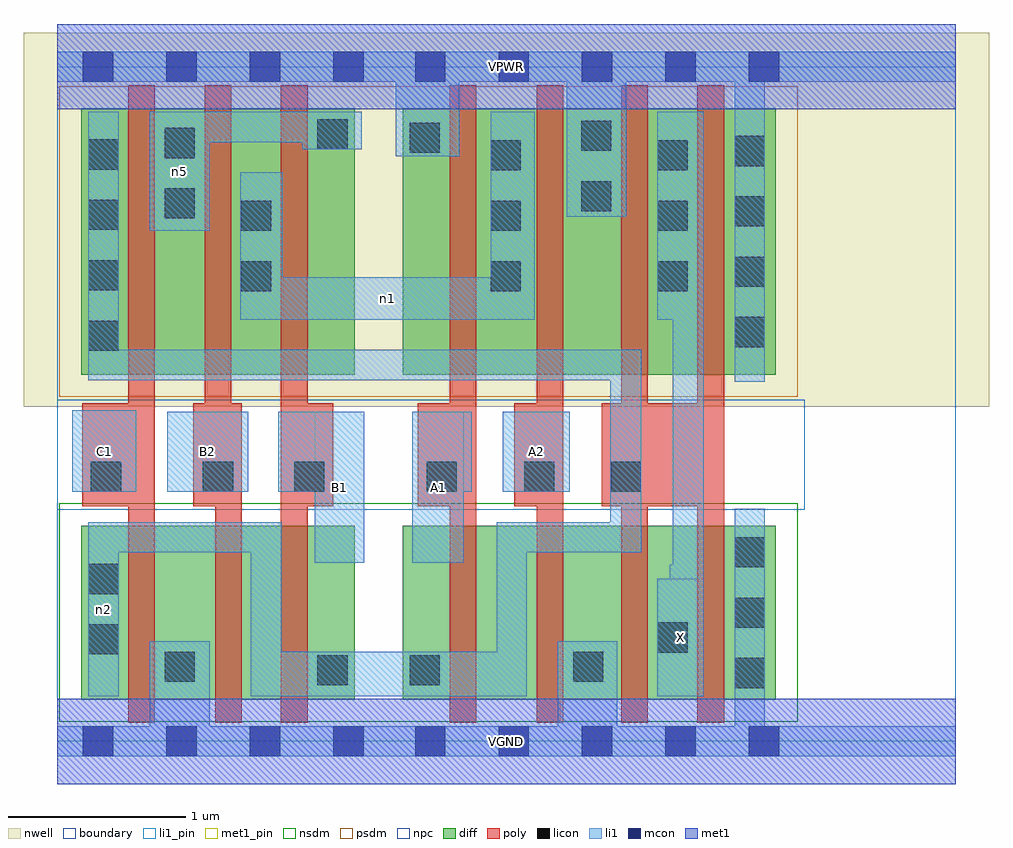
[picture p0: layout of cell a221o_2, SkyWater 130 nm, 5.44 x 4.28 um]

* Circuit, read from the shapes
.subckt a221o_2 A1 A2 B1 B2 C1 VGND VPWR X n1 n2 n5
XM1 VGND C1 n2 VSUBS sky130_fd_pr__nfet_01v8 w=0.98 l=0.15
XM2 n3 B2 VGND VSUBS sky130_fd_pr__nfet_01v8 w=0.98 l=0.15
XM3 n2 B1 n3 VSUBS sky130_fd_pr__nfet_01v8 w=0.98 l=0.15
XM4 n4 A1 n2 VSUBS sky130_fd_pr__nfet_01v8 w=0.98 l=0.15
XM5 VGND A2 n4 VSUBS sky130_fd_pr__nfet_01v8 w=0.98 l=0.15
XM6 X n2 VGND VSUBS sky130_fd_pr__nfet_01v8 w=0.98 l=0.15 m=2
XM7 n5 C1 n2 n6 sky130_fd_pr__pfet_01v8 w=1.5 l=0.15
XM8 n1 B2 n5 n6 sky130_fd_pr__pfet_01v8 w=1.5 l=0.15
XM9 n5 B1 n1 n6 sky130_fd_pr__pfet_01v8 w=1.5 l=0.15
XM10 n1 A1 VPWR n6 sky130_fd_pr__pfet_01v8 w=1.5 l=0.15
XM11 VPWR A2 n1 n6 sky130_fd_pr__pfet_01v8 w=1.5 l=0.15
XM12 X n2 VPWR n6 sky130_fd_pr__pfet_01v8 w=1.5 l=0.15 m=2
.ends

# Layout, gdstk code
import gdstk
lib = gdstk.Library(unit=1e-6, precision=1e-09)
def R(c, l, rs):  # rectangles x0, y0, x1, y1
    for r in rs: c.add(gdstk.rectangle(r[:2], r[2:], *l))
def A(c, l, x, y, w, h, nx, ny, dx, dy):  # array of equal rectangles
    R(c, l, [(x+i*dx, y+j*dy, x+i*dx+w, y+j*dy+h) for i in range(nx) for j in range(ny)])
nwell = (64, 20)
diff = (65, 20)
poly = (66, 20)
licon = (66, 44)
li1_pin = (67, 16)
li1 = (67, 20)
mcon = (67, 44)
met1_pin = (68, 16)
met1 = (68, 20)
nsdm = (93, 44)
psdm = (94, 20)
npc = (95, 20)
boundary = (235, 4)

a221o_2 = lib.new_cell('a221o_2')
R(a221o_2, nwell, [(-0.19,1.885,5.25,3.99), (0,1.885,5.06,3.99)])
R(a221o_2, diff, [(0.135,0.235,1.675,1.215), (1.945,0.235,4.045,1.215), (0.135,2.065,1.675,3.565), (1.945,2.065,4.045,3.565)])
R(a221o_2, poly, [(0.4,0.105,0.55,3.695), (0.89,0.105,1.04,1.905), (1.26,0.105,1.41,3.695), (2.21,0.105,2.36,3.695), (2.7,0.105,2.85,3.695), (3.175,0.105,3.325,3.695), (3.605,0.105,3.755,3.695), (0.14,1.325,0.55,1.905), (0.765,1.325,1.04,1.905), (0.83,1.325,0.98,3.695), (1.26,1.325,1.555,1.905), (2.03,1.325,2.36,1.905), (2.575,1.325,2.85,1.905), (3.065,1.325,3.755,1.905)])
A(a221o_2, licon, 3.815, 0.3, 0.17, 0.17, 1, 3, 0, 0.34)
A(a221o_2, licon, 0.175, 2.2, 0.17, 0.17, 1, 4, 0, 0.34)
A(a221o_2, licon, 3.815, 2.22, 0.17, 0.17, 1, 4, 0, 0.34)
A(a221o_2, licon, 2.44, 2.535, 0.17, 0.17, 1, 3, 0, 0.34)
A(a221o_2, licon, 3.38, 2.535, 0.17, 0.17, 1, 3, 0, 0.34)
R(a221o_2, licon, [(1.465,0.315,1.635,0.485), (1.985,0.315,2.155,0.485), (0.605,0.335,0.775,0.505), (2.905,0.335,3.075,0.505), (0.175,0.49,0.345,0.66), (3.38,0.5,3.55,0.67), (0.175,0.83,0.345,1), (0.19,1.405,0.36,1.575), (0.82,1.405,0.99,1.575), (1.335,1.405,1.505,1.575), (2.08,1.405,2.25,1.575), (2.63,1.405,2.8,1.575), (3.12,1.405,3.29,1.575), (1.035,2.535,1.205,2.705), (1.035,2.875,1.205,3.045), (0.605,2.945,0.775,3.115), (2.95,2.985,3.12,3.155), (0.605,3.285,0.775,3.455), (1.985,3.315,2.155,3.485), (2.95,3.325,3.12,3.495), (1.465,3.335,1.635,3.505)])
R(a221o_2, li1_pin, [(3.38,0.255,3.64,0.915), (1.45,1.005,1.73,1.855), (2,1.005,2.29,1.855), (0.085,1.405,0.445,1.865), (0.62,1.405,1.075,1.855), (2.51,1.405,2.885,1.855)])
R(a221o_2, li1, [(0,-0.085,5.06,0.085), (0.52,-0.085,0.86,0.565), (2.82,-0.085,3.155,0.565), (3.815,-0.085,3.985,1.31), (0.175,0.255,0.345,1.235), (1.09,0.255,2.645,0.505), (1.09,0.255,1.265,1.235), (2.475,0.255,2.645,1.235), (3.38,0.255,3.64,0.915), (3.45,0.255,3.64,0.995), (3.465,0.255,3.64,3.545), (1.45,1.005,1.73,1.855), (2,1.005,2.29,1.855), (0.175,1.065,1.265,1.235), (2.475,1.065,3.29,1.235), (3.115,1.065,3.29,2.205), (0.085,1.405,0.445,1.865), (0.62,1.405,1.075,1.855), (1.245,1.405,1.73,1.855), (2,1.405,2.335,1.855), (2.51,1.405,2.885,1.855), (3.815,2.025,3.985,3.885), (0.175,2.035,3.29,2.205), (0.175,2.035,0.345,3.545), (1.03,2.375,2.69,2.615), (1.03,2.375,1.27,3.205), (2.44,2.375,2.69,3.545), (3.38,2.375,3.64,3.545), (0.52,2.875,0.86,3.545), (2.87,2.955,3.205,3.885), (1.905,3.295,2.265,3.885), (1.38,3.335,1.715,3.545), (0.52,3.375,1.715,3.545), (0,3.715,5.06,3.885)])
A(a221o_2, mcon, 0.145, -0.085, 0.17, 0.17, 4, 2, 0.47, 3.8)
A(a221o_2, mcon, 2.015, -0.085, 0.17, 0.17, 5, 2, 0.47, 3.8)
R(a221o_2, met1_pin, [(0,-0.24,5.06,0.24), (0,3.56,5.06,4.04)])
R(a221o_2, met1, [(0,-0.24,5.06,0.24), (0,3.56,5.06,4.04)])
R(a221o_2, nsdm, [(0.01,0.11,4.17,1.34)])
R(a221o_2, psdm, [(0.01,1.94,4.17,3.69)])
R(a221o_2, npc, [(0,1.305,4.21,1.925)])
R(a221o_2, boundary, [(0,0,5.06,3.8)])
a221o_2.add(gdstk.Label('A1', (2.145,1.43), layer=67, texttype=5))
a221o_2.add(gdstk.Label('A2', (2.697,1.63), layer=67, texttype=5))
a221o_2.add(gdstk.Label('B1', (1.59,1.43), layer=67, texttype=5))
a221o_2.add(gdstk.Label('B2', (0.847,1.63), layer=67, texttype=5))
a221o_2.add(gdstk.Label('C1', (0.265,1.635), layer=67, texttype=5))
a221o_2.add(gdstk.Label('X', (3.51,0.585), layer=67, texttype=5))
a221o_2.add(gdstk.Label('n2', (0.26,0.745), layer=67, texttype=5))
a221o_2.add(gdstk.Label('n5', (0.69,3.21), layer=67, texttype=5))
a221o_2.add(gdstk.Label('n1', (1.86,2.495), layer=67, texttype=5))
a221o_2.add(gdstk.Label('VPWR', (2.53,3.8), layer=68, texttype=5))
a221o_2.add(gdstk.Label('VGND', (2.53,0), layer=68, texttype=5))
a221o_2.add(gdstk.Label('A1', (2.145,1.43), layer=67, texttype=16))
a221o_2.add(gdstk.Label('A2', (2.697,1.63), layer=67, texttype=16))
a221o_2.add(gdstk.Label('B1', (1.59,1.43), layer=67, texttype=16))
a221o_2.add(gdstk.Label('B2', (0.847,1.63), layer=67, texttype=16))
a221o_2.add(gdstk.Label('C1', (0.265,1.635), layer=67, texttype=16))
a221o_2.add(gdstk.Label('X', (3.51,0.585), layer=67, texttype=16))
a221o_2.add(gdstk.Label('VPWR', (2.53,3.8), layer=68, texttype=16))
a221o_2.add(gdstk.Label('VGND', (2.53,0), layer=68, texttype=16))

lib.write_gds('a221o_2.gds')
